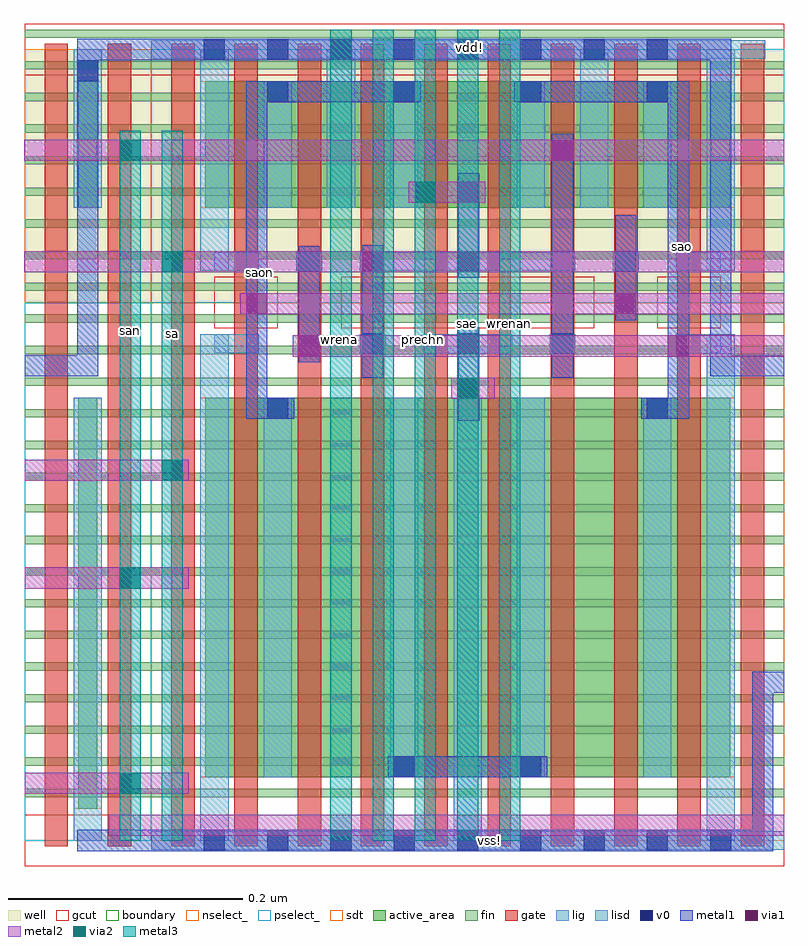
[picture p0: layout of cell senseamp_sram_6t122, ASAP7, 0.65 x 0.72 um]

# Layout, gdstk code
import gdstk
lib = gdstk.Library(unit=1e-6, precision=2.5e-10)
def R(c, l, rs):  # rectangles x0, y0, x1, y1
    for r in rs: c.add(gdstk.rectangle(r[:2], r[2:], *l))
def A(c, l, x, y, w, h, nx, ny, dx, dy):  # array of equal rectangles
    R(c, l, [(x+i*dx, y+j*dy, x+i*dx+w, y+j*dy+h) for i in range(nx) for j in range(ny)])
def P(c, l, *ps):  # polygons
    for p in ps: c.add(gdstk.Polygon(p, *l))
well = (1, 0)
fin = (2, 0)
gate = (7, 0)
gcut = (10, 0)
active_area = (11, 0)
nselect_ = (12, 0)
pselect_ = (13, 0)
lig = (16, 0)
lisd = (17, 0)
v0 = (18, 0)
metal1 = (19, 0)
metal2 = (20, 0)
via1 = (21, 0)
via2 = (25, 0)
metal3 = (30, 0)
sdt = (88, 0)
boundary = (100, 0)

senseamp_sram_6t122 = lib.new_cell('senseamp_sram_6t122')
R(senseamp_sram_6t122, well, [(-0.108,0.432,0.54,0.648)])
A(senseamp_sram_6t122, fin, -0.108, 0.01, 0.648, 0.007, 1, 24, 0, 0.027)
R(senseamp_sram_6t122, fin, [(-0.108,0.631,0.54,0.638), (-0.108,0.658,0.54,0.665)])
A(senseamp_sram_6t122, gate, -0.091, -0.032, 0.02, 0.685, 12, 1, 0.054, 0)
R(senseamp_sram_6t122, gcut, [(-0.108,-0.049,0.54,-0.005), (0.054,0.41,0.108,0.454), (0.162,0.41,0.378,0.454), (0.432,0.41,0.486,0.454), (-0.108,0.626,0.54,0.67)])
R(senseamp_sram_6t122, active_area, [(-0.062,0,-0.046,0.351), (0.046,0.027,0.494,0.351), (-0.062,0.513,-0.046,0.621), (0.046,0.513,0.494,0.621)])
R(senseamp_sram_6t122, nselect_, [(0,-0.027,0.54,0.432), (-0.108,0.432,0,0.648)])
R(senseamp_sram_6t122, pselect_, [(-0.108,-0.027,0,0.432), (0,0.432,0.54,0.648)])
R(senseamp_sram_6t122, lig, [(0,-0.035,0.54,-0.019), (0.054,0.389,0.092,0.405), (0.178,0.389,0.2,0.405), (0.232,0.389,0.308,0.405), (0.34,0.389,0.362,0.405), (0.448,0.389,0.486,0.405), (0.054,0.459,0.092,0.475), (0.124,0.459,0.146,0.475), (0.178,0.459,0.362,0.475), (0.394,0.459,0.416,0.475), (0.448,0.459,0.486,0.475), (0,0.64,0.524,0.656)])
A(senseamp_sram_6t122, lisd, 0.096, 0.027, 0.024, 0.324, 4, 1, 0.108, 0)
A(senseamp_sram_6t122, lisd, -0.066, 0.513, 0.024, 0.135, 3, 1, 0.216, 0)
A(senseamp_sram_6t122, lisd, 0.096, 0.513, 0.024, 0.108, 4, 1, 0.108, 0)
R(senseamp_sram_6t122, lisd, [(-0.066,-0.027,-0.042,0.351), (0.042,-0.027,0.066,0.405), (0.258,-0.027,0.282,0.351), (0.474,-0.027,0.498,0.405), (0.042,0.459,0.066,0.648), (0.474,0.459,0.498,0.648)])
A(senseamp_sram_6t122, v0, 0.045, -0.036, 0.018, 0.018, 9, 1, 0.054, 0)
A(senseamp_sram_6t122, v0, 0.099, 0.603, 0.018, 0.018, 4, 1, 0.108, 0)
A(senseamp_sram_6t122, v0, 0.045, 0.639, 0.018, 0.018, 8, 1, 0.054, 0)
R(senseamp_sram_6t122, v0, [(0.045,-0.036,0.063,-0.018), (0.477,-0.036,0.495,-0.018), (0.207,0.027,0.225,0.045), (0.315,0.027,0.333,0.045), (0.099,0.333,0.117,0.351), (0.423,0.333,0.441,0.351), (0.18,0.388,0.198,0.406), (0.262,0.388,0.28,0.406), (0.342,0.388,0.36,0.406), (0.126,0.458,0.144,0.476), (0.262,0.458,0.28,0.476), (0.396,0.458,0.414,0.476), (-0.063,0.621,-0.045,0.639)])
R(senseamp_sram_6t122, metal1, [(-0.063,-0.036,0.531,-0.018), (0.513,-0.036,0.531,0.117), (0.202,0.027,0.338,0.045), (0.513,0.099,0.54,0.117), (0.262,0.331,0.28,0.411), (0.081,0.333,0.122,0.351), (0.418,0.333,0.459,0.351), (0.18,0.368,0.198,0.481), (0.342,0.368,0.36,0.576), (-0.108,0.369,-0.045,0.387), (-0.063,0.369,-0.045,0.657), (0.477,0.369,0.495,0.657), (0.477,0.369,0.54,0.387), (0.126,0.381,0.144,0.48), (0.396,0.417,0.414,0.5065), (0.262,0.453,0.28,0.5425), (-0.063,0.639,0.495,0.657)])
P(senseamp_sram_6t122, metal1, [(0.441,0.333),(0.441,0.603),(0.31,0.603),(0.31,0.621),(0.459,0.621),(0.459,0.333)],
  [(0.081,0.333),(0.081,0.621),(0.23,0.621),(0.23,0.603),(0.099,0.603),(0.099,0.333)])
R(senseamp_sram_6t122, metal2, [(-0.036,-0.023,0.54,-0.005), (-0.108,0.013,0.032,0.031), (-0.108,0.188,0.032,0.206), (-0.108,0.28,0.032,0.298), (0.256,0.35,0.293,0.368), (0.121,0.386,0.54,0.404), (0.076,0.422,0.54,0.44), (-0.1085,0.458,0.54,0.476), (0.22,0.517,0.285,0.535), (-0.1085,0.553,0.54,0.571)])
R(senseamp_sram_6t122, via1, [(0.262,0.35,0.28,0.368), (0.126,0.386,0.144,0.404), (0.441,0.386,0.459,0.404), (0.081,0.422,0.099,0.44), (0.396,0.422,0.414,0.44), (0.18,0.458,0.198,0.476), (0.262,0.517,0.28,0.535), (0.342,0.553,0.36,0.571)])
R(senseamp_sram_6t122, via2, [(-0.027,0.013,-0.009,0.031), (-0.027,0.188,-0.009,0.206), (0.009,0.28,0.027,0.298), (0.261,0.35,0.279,0.368), (0.009,0.458,0.027,0.476), (0.225,0.517,0.243,0.535), (-0.027,0.553,-0.009,0.571)])
A(senseamp_sram_6t122, metal3, 0.153, -0.027, 0.018, 0.692, 5, 1, 0.036, 0)
R(senseamp_sram_6t122, metal3, [(-0.027,-0.027,-0.009,0.5785), (0.009,-0.027,0.027,0.5785)])
A(senseamp_sram_6t122, sdt, 0.204, 0.027, 0.024, 0.324, 3, 1, 0.054, 0)
A(senseamp_sram_6t122, sdt, 0.042, 0.513, 0.024, 0.108, 4, 1, 0.054, 0)
A(senseamp_sram_6t122, sdt, 0.312, 0.513, 0.024, 0.108, 4, 1, 0.054, 0)
R(senseamp_sram_6t122, sdt, [(-0.066,0,-0.042,0.351), (0.042,0.027,0.066,0.351), (0.096,0.027,0.12,0.351), (0.42,0.027,0.444,0.351), (0.474,0.027,0.498,0.351), (-0.066,0.513,-0.042,0.621)])
R(senseamp_sram_6t122, boundary, [(-0.108,-0.027,0.54,0.648)])
senseamp_sram_6t122.add(gdstk.Label('vss!', (0.289,-0.027), layer=19, texttype=251))
senseamp_sram_6t122.add(gdstk.Label('vdd!', (0.2715,0.65), layer=19, texttype=251))
senseamp_sram_6t122.add(gdstk.Label('saon', (0.0925,0.458), layer=19, texttype=251))
senseamp_sram_6t122.add(gdstk.Label('sao', (0.4525,0.4795), layer=19, texttype=251))
senseamp_sram_6t122.add(gdstk.Label('wrenan', (0.3055,0.4145), layer=30, texttype=251))
senseamp_sram_6t122.add(gdstk.Label('sae', (0.2695,0.4145), layer=30, texttype=251))
senseamp_sram_6t122.add(gdstk.Label('wrena', (0.1605,0.4005), layer=30, texttype=251))
senseamp_sram_6t122.add(gdstk.Label('san', (-0.0175,0.4085), layer=30, texttype=251))
senseamp_sram_6t122.add(gdstk.Label('sa', (0.018,0.406), layer=30, texttype=251))
senseamp_sram_6t122.add(gdstk.Label('vsswrite', (0.1955,0.4005), layer=30, texttype=251))
senseamp_sram_6t122.add(gdstk.Label('prechn', (0.2325,0.4005), layer=30, texttype=251))

lib.write_gds('senseamp_sram_6t122.gds')
